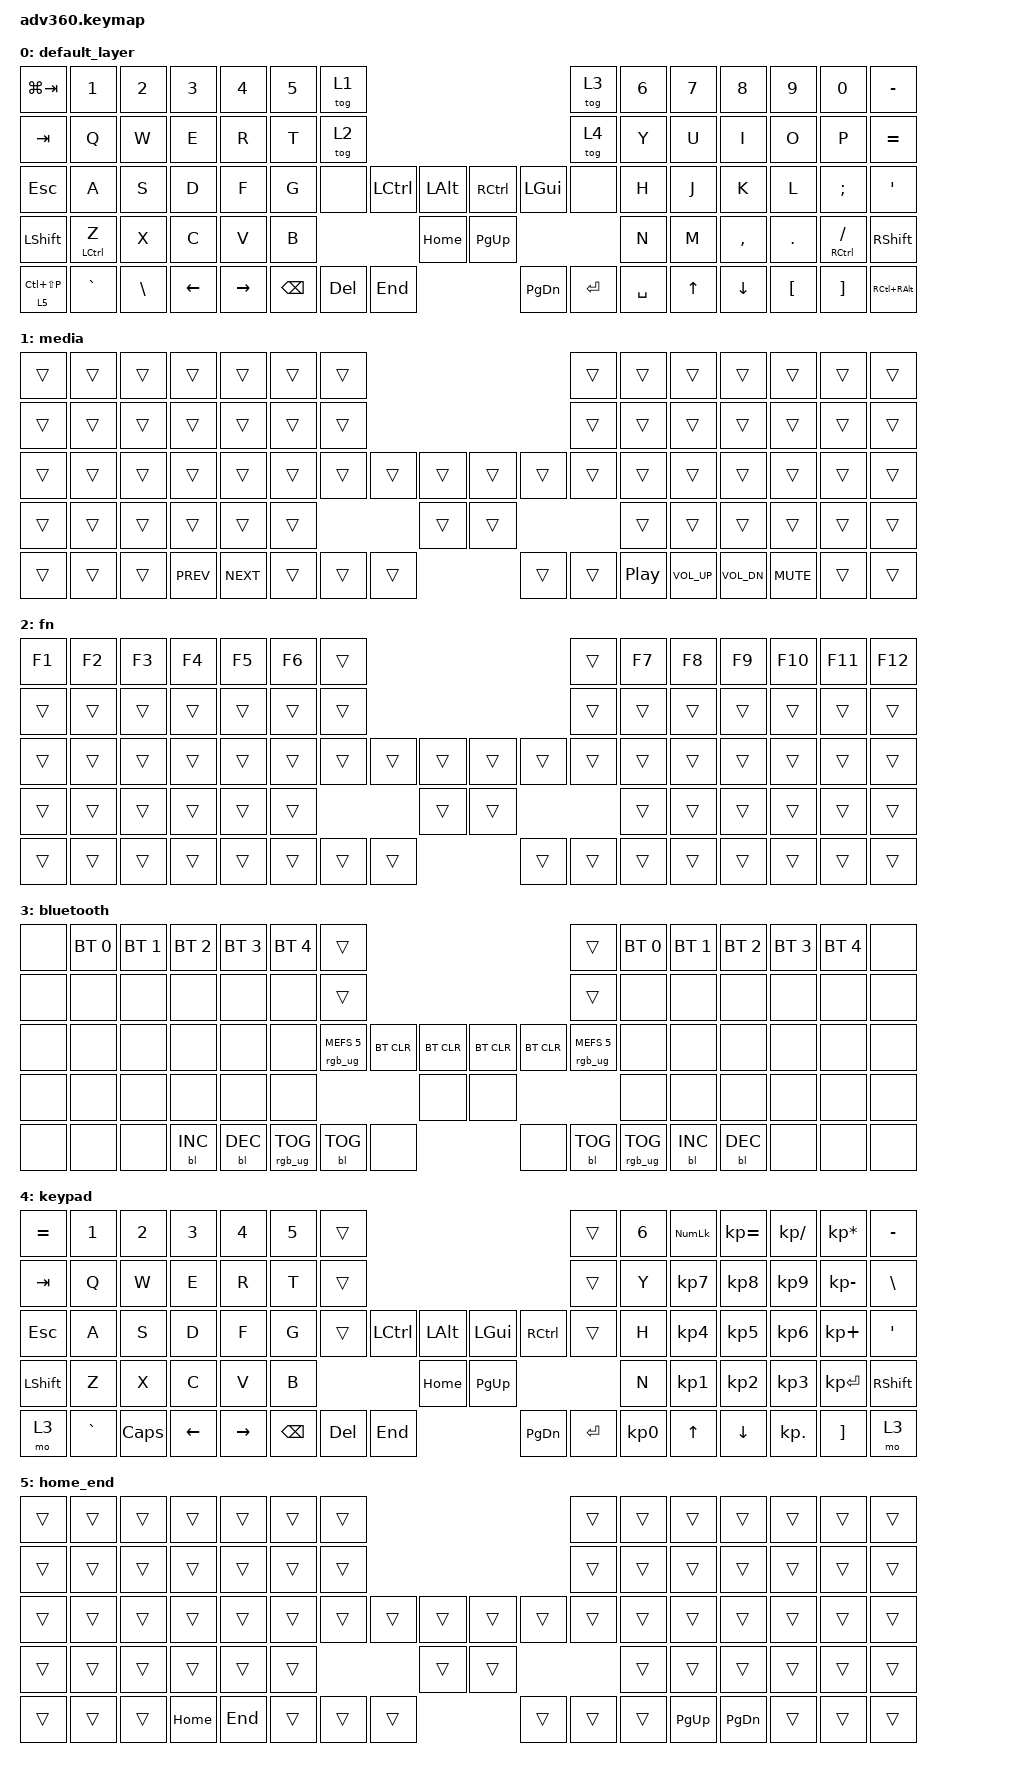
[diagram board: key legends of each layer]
#include <behaviors.dtsi>
#include <dt-bindings/zmk/keys.h>
#include <dt-bindings/zmk/bt.h>
#include <dt-bindings/zmk/rgb.h>
#include <dt-bindings/zmk/backlight.h>

/*
# TO DO

- Fix shift left/right/up/down
  - Can I use the mod buttons?
[x] Add the media layers
[x] Bottom right is ctrl-alt
- Layer colors
*/

/ {
    behaviors {
      #include "macros.dtsi"
      #include "version.dtsi"
      #ifndef VERSION_MACRO
      macro_ver: macro_ver {
        compatible = "zmk,behavior-macro";
        label = "macro_version";
        #binding-cells = <0>;
        bindings = <&kp RET>;
      };
      #endif

      hm: homerow_mods {
          compatible = "zmk,behavior-hold-tap";
          label = "HOMEROW_MODS";
          #binding-cells = <2>;
          tapping-term-ms = <200>;
          quick_tap_ms = <175>;
          flavor = "tap-preferred";
          bindings = <&kp>, <&kp>;
      };

      myht: my_hold_tap {
          compatible = "zmk,behavior-hold-tap";
          label = "MY_HOLD_TAP";
          #binding-cells = <2>;
          bindings = <&kp>, <&kp>;
          flavor = "tap-preferred";
          tapping-term-ms = <200>;
          quick-tap-ms = <125>;
          hold-trigger-key-positions = <66 81>; // Bottom left corner and bottom right corner
      };
  };

  keymap {
    compatible = "zmk,keymap";

    default_layer { /* layer 0 */
      bindings = <
        &kp LG(TAB)      &kp N1        &kp N2   &kp N3   &kp N4     &kp N5 &tog 1                                                           &tog 3 &kp N6 &kp N7 &kp N8    &kp N9   &kp N0          &kp MINUS
        &kp TAB          &kp Q         &kp W    &kp E    &kp R      &kp T  &tog 2                                                           &tog 4 &kp Y  &kp U  &kp I     &kp O    &kp P           &kp EQUAL
        &kp ESC          &kp A         &kp S    &kp D    &kp F      &kp G  &none           &kp LCTRL &kp LALT &kp RCTRL  &kp LGUI           &none  &kp H  &kp J  &kp K     &kp L    &kp SEMI        &kp SQT
        &kp LSHFT        &mt LCTRL Z   &kp X    &kp C    &kp V      &kp B                            &kp HOME &kp PG_UP                            &kp N  &kp M  &kp COMMA &kp DOT  &mt RCTRL FSLH  &kp RSHFT
        &lt 5 LC(LS(P))  &kp GRAVE     &kp BSLH &kp LEFT &kp RIGHT                &kp BSPC &kp DEL   &kp END  &kp PG_DN  &kp ENTER &kp SPACE              &kp UP &kp DOWN  &kp LBKT &kp RBKT        &kp RC(RALT)
      >;
    };
    media { /* layer 1 */
      bindings = <
        &trans &trans &trans &trans     &trans     &trans  &trans                                            &trans &trans &trans       &trans       &trans      &trans  &trans
        &trans &trans &trans &trans     &trans     &trans  &trans                                            &trans &trans &trans       &trans       &trans      &trans  &trans
        &trans &trans &trans &trans     &trans     &trans  &trans        &trans &trans &trans &trans         &trans &trans &trans       &trans       &trans      &trans  &trans
        &trans &trans &trans &trans     &trans     &trans                       &trans &trans                       &trans &trans       &trans       &trans      &trans  &trans
        &trans &trans &trans &kp C_PREV &kp C_NEXT               &trans &trans &trans &trans &trans &kp C_PP               &kp C_VOL_UP &kp C_VOL_DN &kp C_MUTE  &trans  &trans
      >;
    };
    fn { /* layer 2 */
      bindings = <
        &kp F1 &kp F2 &kp F3 &kp F4 &kp F5 &kp F6  &trans                                          &trans  &kp F7 &kp F8 &kp F9 &kp F10 &kp F11 &kp F12
        &trans &trans &trans &trans &trans &trans  &trans                                          &trans  &trans &trans &trans &trans  &trans  &trans
        &trans &trans &trans &trans &trans &trans  &trans       &trans &trans &trans &trans        &trans  &trans &trans &trans &trans  &trans  &trans
        &trans &trans &trans &trans &trans &trans                      &trans &trans                       &trans &trans &trans &trans  &trans  &trans
        &trans &trans &trans &trans &trans               &trans &trans &trans &trans &trans &trans                &trans &trans &trans  &trans  &trans
      >;
    };
    bluetooth { /* layer 3 */
      bindings = <
        &none &bt BT_SEL 0 &bt BT_SEL 1 &bt BT_SEL 2 &bt BT_SEL 3 &bt BT_SEL 4 &trans                                                                                             &trans                 &bt BT_SEL 0 &bt BT_SEL 1 &bt BT_SEL 2 &bt BT_SEL 3 &bt BT_SEL 4 &none
        &none &none        &none        &none        &none        &none        &trans                                                                                             &trans                 &none        &none        &none        &none        &none        &none
        &none &none        &none        &none        &none        &none        &rgb_ug RGB_MEFS_CMD 5                 &bt BT_CLR &bt BT_CLR &bt BT_CLR &bt BT_CLR                 &rgb_ug RGB_MEFS_CMD 5 &none        &none        &none        &none        &none        &none
        &none &none        &none        &none        &none        &none                                                          &none      &none                                                        &none        &none        &none        &none        &none        &none
        &none &none        &none        &bl BL_INC   &bl BL_DEC                                       &rgb_ug RGB_TOG &bl BL_TOG &none      &none      &bl BL_TOG &rgb_ug RGB_TOG                                     &bl BL_INC   &bl BL_DEC   &none        &none        &none
      >;
    };
    keypad { /* layer 4 */
      bindings = <
        &kp EQUAL &kp N1    &kp N2   &kp N3   &kp N4     &kp N5 &trans                                                           &trans &kp N6 &kp KP_NUM &kp KP_EQUAL &kp KP_DIVIDE &kp KP_MULTIPLY &kp MINUS
        &kp TAB   &kp Q     &kp W    &kp E    &kp R      &kp T  &trans                                                           &trans &kp Y  &kp KP_N7  &kp KP_N8    &kp KP_N9     &kp KP_MINUS    &kp BSLH
        &kp ESC   &kp A     &kp S    &kp D    &kp F      &kp G  &trans          &kp LCTRL &kp LALT &kp LGUI  &kp RCTRL           &trans &kp H  &kp KP_N4  &kp KP_N5    &kp KP_N6     &kp KP_PLUS     &kp SQT
        &kp LSHFT &kp Z     &kp X    &kp C    &kp V      &kp B                            &kp HOME &kp PG_UP                            &kp N  &kp KP_N1  &kp KP_N2    &kp KP_N3     &kp KP_ENTER    &kp RSHFT
        &mo 3     &kp GRAVE &kp CAPS &kp LEFT &kp RIGHT                &kp BSPC &kp DEL   &kp END  &kp PG_DN &kp ENTER &kp KP_N0               &kp UP     &kp DOWN     &kp KP_DOT    &kp RBKT        &mo 3
      >;
    };
    home_end { /* layer 5 */
      bindings = <
        &trans &trans &trans &trans   &trans   &trans  &trans                                          &trans &trans &trans    &trans    &trans  &trans  &trans
        &trans &trans &trans &trans   &trans   &trans  &trans                                          &trans &trans &trans    &trans    &trans  &trans  &trans
        &trans &trans &trans &trans   &trans   &trans  &trans       &trans &trans &trans &trans        &trans &trans &trans    &trans    &trans  &trans  &trans
        &trans &trans &trans &trans   &trans   &trans                      &trans &trans                      &trans &trans    &trans    &trans  &trans  &trans
        &trans &trans &trans &kp HOME &kp END                &trans &trans &trans &trans &trans &trans               &kp PG_UP &kp PG_DN &trans  &trans  &trans
      >;
    };
  };
};
